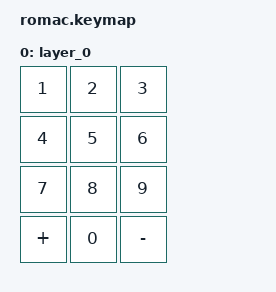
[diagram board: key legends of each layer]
/*
 * Copyright (c) 2020 The ZMK Contributors
 *
 * SPDX-License-Identifier: MIT
 */

#include <behaviors.dtsi>
#include <dt-bindings/zmk/bt.h>
#include <dt-bindings/zmk/keys.h>

/ {
    combos {
        compatible = "zmk,combos";

        clear-all {
            bindings = <&bt BT_CLR_ALL>;
            key-positions = <0 2>;
        };
    };

    keymap {
        compatible = "zmk,keymap";

        layer_0 {
            bindings = <
&kp N1    &kp N2  &kp N3
&kp N4    &kp N5  &kp N6
&kp N7    &kp N8  &kp N9
&kp PLUS  &kp N0  &kp MINUS
            >;
        };
    };
};
